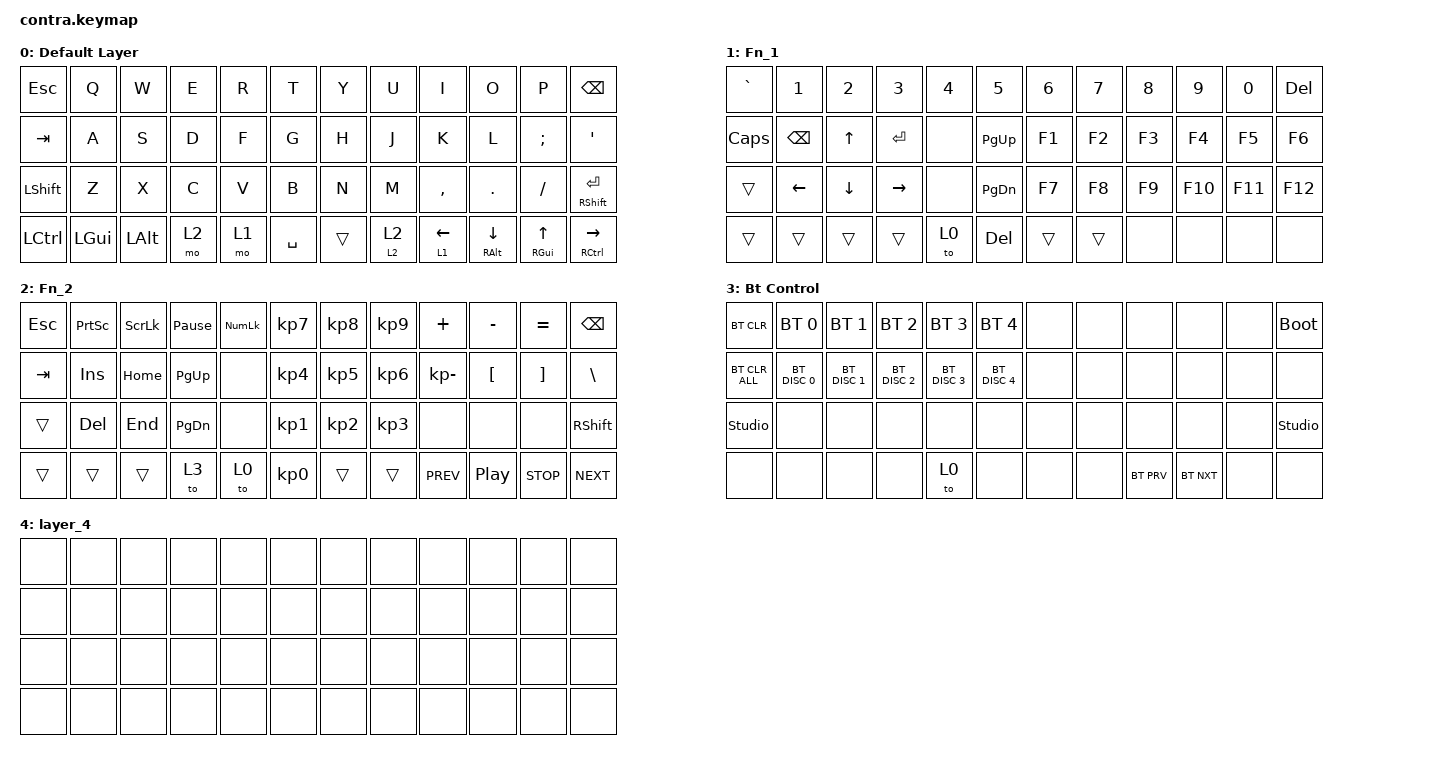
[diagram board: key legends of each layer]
/*
 * Copyright (c) 2021 The ZMK Contributors
 *
 * SPDX-License-Identifier: MIT
 */

#include <behaviors.dtsi>
#include <dt-bindings/zmk/bt.h>
#include <dt-bindings/zmk/keys.h>

#define DEFAULT  0
#define Fn_1	 1
#define Fn_2	 2
#define BT_CTRL  3
#define layer_4	 4

/ {
    combos {
        compatible = "zmk,combos";

        vol_up {
            bindings = <&kp C_VOLUME_UP>;
            key-positions = <38 39>;
        };

        vol_down {
            bindings = <&kp C_VOLUME_DOWN>;
            key-positions = <38 40>;
        };

        del {
            bindings = <&kp DELETE>;
            key-positions = <11 10>;
        };

        enter {
            bindings = <&kp ENTER>;
            key-positions = <22 23>;
        };
    };

    behaviors {
        test_behavior: test_behavior {
            compatible = "zmk,behavior-hold-tap";
            label = "TEST_BEHAVIOR";
            bindings = <&mo>, <&to>;

            #binding-cells = <2>;
            tapping-term-ms = <150>;
            quick-tap-ms = <3>;
        };
    };

    keymap {
        compatible = "zmk,keymap";

        default_layer {
            display-name = "Default Layer";
            bindings = <
&kp ESC    &kp Q     &kp W     &kp E  &kp R  &kp T      &kp Y   &kp U               &kp I             &kp O                     &kp P              &kp BSPC
&kp TAB    &kp A     &kp S     &kp D  &kp F  &kp G      &kp H   &kp J               &kp K             &kp L                     &kp SEMI           &kp SQT
&kp LSHFT  &kp Z     &kp X     &kp C  &kp V  &kp B      &kp N   &kp M               &kp COMMA         &kp DOT                   &kp FSLH           &mt RIGHT_SHIFT ENTER
&kp LCTRL  &kp LGUI  &kp LALT  &mo 2  &mo 1  &kp SPACE  &trans  &test_behavior 2 2  &lt 1 LEFT_ARROW  &mt RIGHT_ALT DOWN_ARROW  &mt RGUI UP_ARROW  &mt RIGHT_CONTROL RIGHT_ARROW
            >;
        };

        Fn_1 {
            display-name = "Fn_1";
            bindings = <
&kp GRAVE     &kp N1          &kp N2          &kp N3           &kp N4  &kp N5         &kp N6  &kp N7  &kp N8  &kp N9   &kp N0   &kp DEL
&kp CAPSLOCK  &kp BACKSPACE   &kp UP_ARROW    &kp ENTER        &none   &kp PG_UP      &kp F1  &kp F2  &kp F3  &kp F4   &kp F5   &kp F6
&trans        &kp LEFT_ARROW  &kp DOWN_ARROW  &kp RIGHT_ARROW  &none   &kp PAGE_DOWN  &kp F7  &kp F8  &kp F9  &kp F10  &kp F11  &kp F12
&trans        &trans          &trans          &trans           &to 0   &kp DEL        &trans  &trans  &none   &none    &none    &none
            >;
        };

        Fn_2 {
            bindings = <
&kp ESC  &kp PRINTSCREEN  &kp SCROLLLOCK  &kp PAUSE_BREAK  &kp KP_NUMLOCK  &kp KP_NUMBER_7  &kp KP_NUMBER_8  &kp KP_NUMBER_9  &kp PLUS      &kp MINUS         &kp EQUAL          &kp BSPC
&kp TAB  &kp INS          &kp HOME        &kp PG_UP        &none           &kp KP_NUMBER_4  &kp KP_NUMBER_5  &kp KP_NUMBER_6  &kp KP_MINUS  &kp LEFT_BRACKET  &kp RIGHT_BRACKET  &kp BACKSLASH
&trans   &kp DEL          &kp END         &kp PAGE_DOWN    &none           &kp KP_NUMBER_1  &kp KP_NUMBER_2  &kp KP_NUMBER_3  &none         &none             &none              &kp RSHFT
&trans   &trans           &trans          &to 3            &to 0           &kp KP_NUMBER_0  &trans           &trans           &kp C_PREV    &kp C_PLAY_PAUSE  &kp C_STOP         &kp C_NEXT
            >;

            label = "Fn_2";
        };

        bt_control {
            display-name = "Bt Control";
            bindings = <
&bt BT_CLR      &bt BT_SEL 0   &bt BT_SEL 1   &bt BT_SEL 2   &bt BT_SEL 3   &bt BT_SEL 4   &none  &none  &none       &none       &none  &bootloader
&bt BT_CLR_ALL  &bt BT_DISC 0  &bt BT_DISC 1  &bt BT_DISC 2  &bt BT_DISC 3  &bt BT_DISC 4  &none  &none  &none       &none       &none  &none
&studio_unlock  &none          &none          &none          &none          &none          &none  &none  &none       &none       &none  &studio_unlock
&none           &none          &none          &none          &to 0          &none          &none  &none  &bt BT_PRV  &bt BT_NXT  &none  &none
            >;
        };

        layer_4 {
            bindings = <
&none  &none  &none  &none  &none  &none  &none  &none  &none  &none  &none  &none
&none  &none  &none  &none  &none  &none  &none  &none  &none  &none  &none  &none
&none  &none  &none  &none  &none  &none  &none  &none  &none  &none  &none  &none
&none  &none  &none  &none  &none  &none  &none  &none  &none  &none  &none  &none
            >;
        };
    };
};
